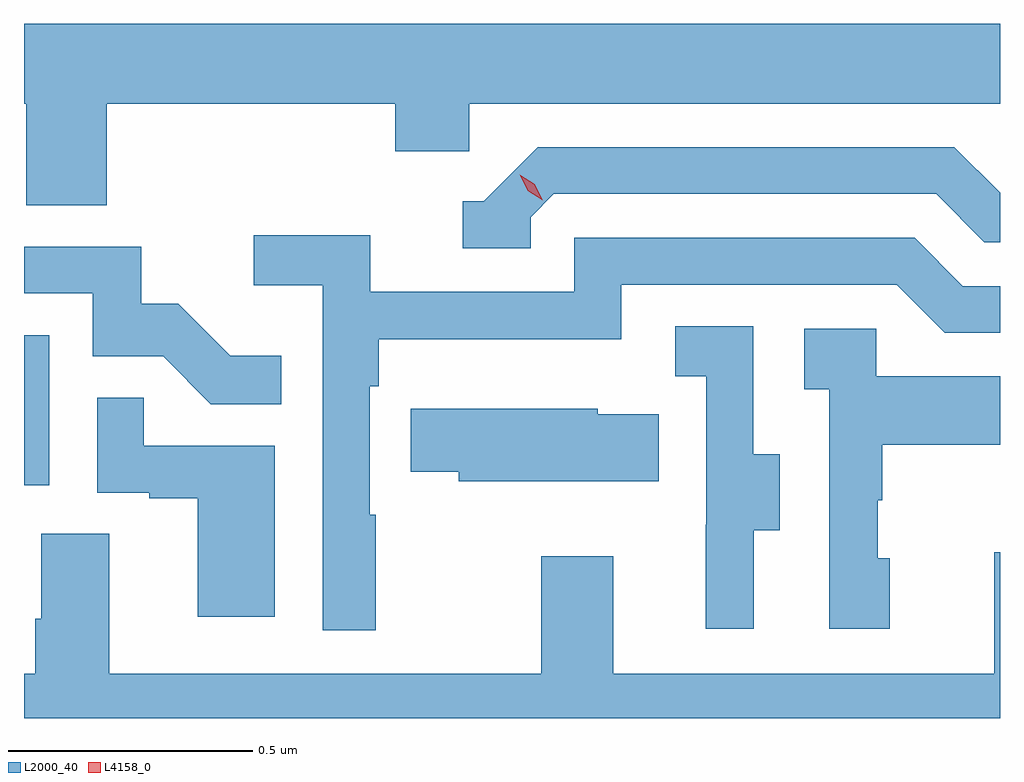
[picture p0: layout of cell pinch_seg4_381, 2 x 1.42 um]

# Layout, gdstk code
import gdstk
lib = gdstk.Library(unit=1e-6, precision=1e-09)
def R(c, l, rs):  # rectangles x0, y0, x1, y1
    for r in rs: c.add(gdstk.rectangle(r[:2], r[2:], *l))
def P(c, l, *ps):  # polygons
    for p in ps: c.add(gdstk.Polygon(p, *l))
L2000_40 = (2000, 40)
L4158_0 = (4158, 0)

pinch_seg4_381 = lib.new_cell('pinch_seg4_381')
R(pinch_seg4_381, L2000_40, [(957.084,769.398,957.136,769.705)])
P(pinch_seg4_381, L2000_40, [(957.254,770.18),(957.845,770.18),(957.845,770.082),(957.996,770.082),(957.996,770.18),(959.084,770.18),(959.084,770.344),(957.084,770.344),(957.084,770.18),(957.089,770.18),(957.089,769.972),(957.254,769.972)],
  [(958.122,769.947),(958.17,769.995),(958.953,769.995),(959.052,769.896),(959.084,769.896),(959.084,769.997),(958.99,770.091),(958.137,770.091),(958.026,769.98),(957.983,769.98),(957.983,769.884),(958.122,769.884)],
  [(957.805,769.337),(957.792,769.337),(957.792,769.601),(957.811,769.601),(957.811,769.697),(958.308,769.697),(958.308,769.809),(958.872,769.809),(958.971,769.71),(959.084,769.71),(959.084,769.806),(959.008,769.806),(958.909,769.905),(958.212,769.905),(958.212,769.794),(957.794,769.794),(957.794,769.91),(957.555,769.91),(957.555,769.808),(957.696,769.808),(957.696,769.101),(957.805,769.101)],
  [(957.611,769.663),(957.507,769.663),(957.4,769.77),(957.324,769.77),(957.324,769.887),(957.084,769.887),(957.084,769.791),(957.225,769.791),(957.225,769.662),(957.369,769.662),(957.467,769.564),(957.611,769.564)],
  [(958.579,769.306),(958.633,769.306),(958.633,769.461),(958.578,769.461),(958.578,769.724),(958.419,769.724),(958.419,769.621),(958.482,769.621),(958.482,769.317),(958.481,769.317),(958.481,769.104),(958.579,769.104)],
  [(958.858,769.248),(958.833,769.248),(958.833,769.367),(958.843,769.367),(958.843,769.481),(959.084,769.481),(959.084,769.621),(958.83,769.621),(958.83,769.719),(958.683,769.719),(958.683,769.595),(958.734,769.595),(958.734,769.104),(958.858,769.104)],
  [(957.598,769.479),(957.329,769.479),(957.329,769.577),(957.234,769.577),(957.234,769.383),(957.341,769.383),(957.341,769.371),(957.44,769.371),(957.44,769.128),(957.598,769.128)],
  [(958.385,769.543),(958.26,769.543),(958.26,769.555),(957.877,769.555),(957.877,769.426),(957.975,769.426),(957.975,769.406),(958.385,769.406)],
  [(959.084,769.261),(959.072,769.261),(959.072,769.012),(958.291,769.012),(958.291,769.252),(958.144,769.252),(958.144,769.012),(957.259,769.012),(957.259,769.298),(957.119,769.298),(957.119,769.124),(957.107,769.124),(957.107,769.012),(957.084,769.012),(957.084,768.92),(959.084,768.92)])
P(pinch_seg4_381, L4158_0, [(958.147,769.982),(958.116,770.001),(958.1,770.034),(958.1,770.034),(958.1,770.034),(958.131,770.015),(958.147,769.982),(958.147,769.982)])

lib.write_gds('pinch_seg4_381.gds')
